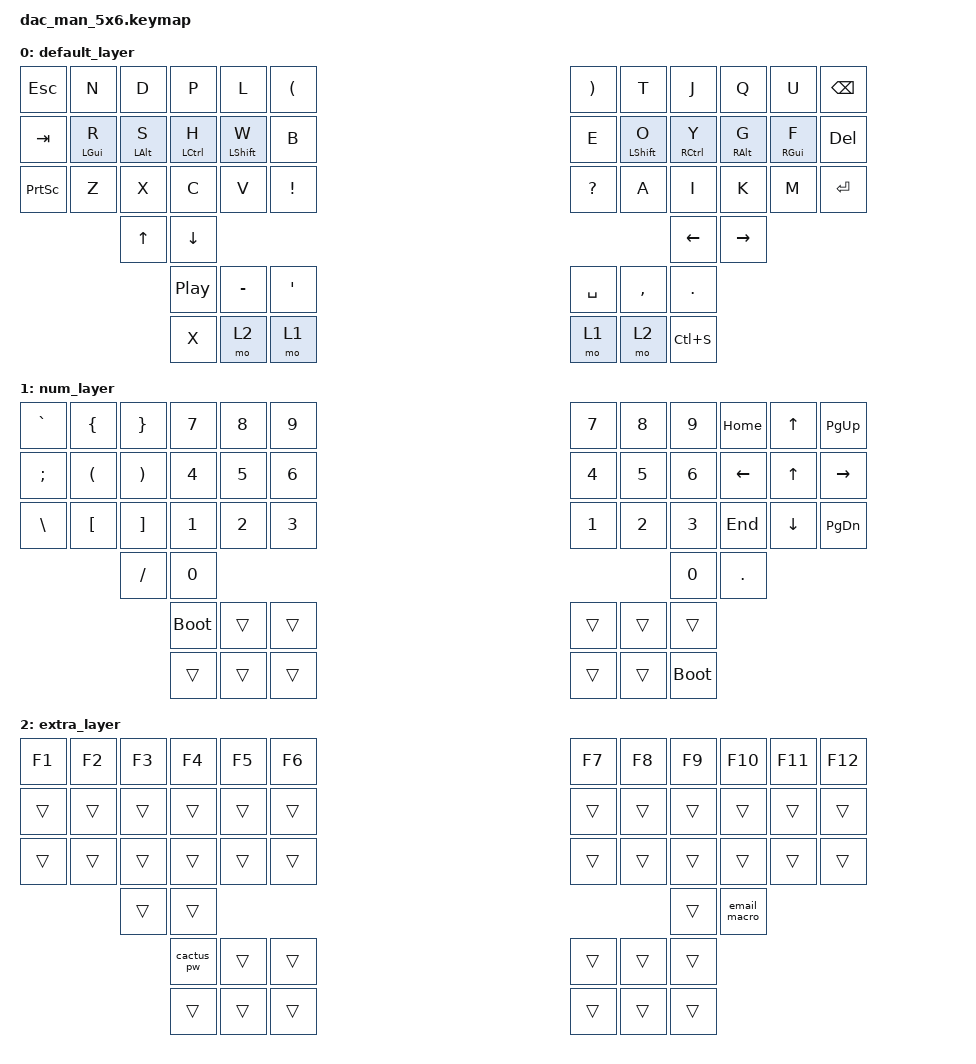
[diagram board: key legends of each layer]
/* dac_man_5x6.keymap */

#include <behaviors.dtsi>
#include <dt-bindings/zmk/keys.h>
#include <dt-bindings/zmk/bt.h>
#include <dt-bindings/zmk/outputs.h>
#include <dt-bindings/zmk/backlight.h>   // ADD THIS LINE

/ {
    macros {
        /* Name: "cactus_pw" */
        cactus_pw: cactus_pw {
            compatible = "zmk,behavior-macro";
            #binding-cells = <0>;
            wait-ms = <30>;
            tap-ms = <40>;
            bindings
                = <&macro_tap &kp LS(B) &kp N1 &kp G &kp LS(G) &kp R &kp N3 &kp N3 &kp N &kp LS(C) &kp AT &kp C &kp T &kp U &kp S>   /* B 1 g G r 3 3 n C @ c t u s */
                ;
        };
        
        email_macro: email_macro {
            compatible = "zmk,behavior-macro";
            #binding-cells = <0>;
            bindings
                = <&macro_tap &kp M &kp Y &kp E &kp M &kp A &kp I &kp L &kp AT &kp G &kp M &kp A &kp I &kp L &kp DOT &kp C &kp O &kp M>
                ;
        };
    };

    keymap {
        compatible = "zmk,keymap";

        /* * LAYER 0: BASE LAYER */
        default_layer {
            bindings = <

&kp ESC      &kp N        &kp D         &kp P        &kp L        &kp LPAR                                &kp RPAR     &kp T            &kp J        &kp Q        &kp U        &kp BSPC
&kp TAB      &mt LGUI R   &mt LALT S    &mt LCTRL H  &mt LSHIFT W &kp B                                   &kp E        &mt LSHIFT O     &mt RCTRL Y  &mt RALT G   &mt RGUI F   &kp DEL
&kp PSCRN    &kp Z        &kp X         &kp C        &kp V        &kp EXCL                                &kp QMARK    &kp A            &kp I        &kp K        &kp M        &kp RET
                          &kp UP        &kp DOWN                                                                                        &kp LEFT &kp RIGHT
&kp C_PP        &kp MINUS    &kp SQT       &kp X        &mo 2        &mo 1                                   &kp SPACE     &kp COMMA        &kp PERIOD   &mo 1    &mo 2        &kp LC(S)

            >;
        };

        /* * LAYER 1: NUMBERS & SYMBOLS */
        num_layer {
            bindings = <
/* LEFT HAND */
&kp GRAVE    &kp LBRC     &kp RBRC     &kp N7       &kp N8       &kp N9                                    &kp N7       &kp N8       &kp N9       &kp HOME     &kp UP       &kp PG_UP
&kp SEMI     &kp LPAR     &kp RPAR     &kp N4       &kp N5       &kp N6                                    &kp N4       &kp N5       &kp N6       &kp LEFT     &kp UP       &kp RIGHT
&kp BSLH     &kp LBKT     &kp RBKT     &kp N1       &kp N2       &kp N3                                    &kp N1       &kp N2       &kp N3       &kp END      &kp DOWN     &kp PG_DN
                          &kp SLASH    &kp N0                                                                                        &kp N0       &kp DOT
&bootloader &trans      &trans      &trans       &trans       &trans                                    &trans       &trans       &trans       &trans       &trans       &bootloader


            >;
        };

        /* * LAYER 2: EXTRA / MACROS */
        extra_layer {
            bindings = <
/* LEFT HAND */
&kp F1       &kp F2       &kp F3       &kp F4       &kp F5       &kp F6
&kp F7       &kp F8       &kp F9       &kp F10      &kp F11      &kp F12
&trans       &trans       &trans       &trans       &trans       &trans
                          &trans       &trans
                                                    &trans       &trans
                                                    &trans       &trans
                                                    &trans       &trans

/* RIGHT HAND */
&trans       &trans       &trans       &trans       &trans       &trans
&trans       &trans       &trans       &trans       &trans       &trans
&trans       &email_macro &cactus_pw   &trans       &trans       &trans /* Added your macros here */
                          &trans       &trans
&trans       &trans
&trans       &trans
&trans       &trans
            >;
        };
    };
};
